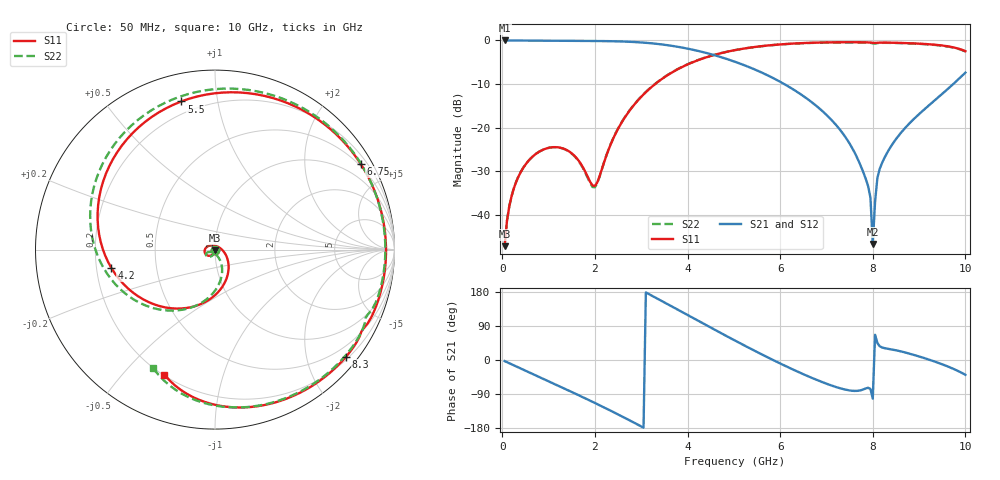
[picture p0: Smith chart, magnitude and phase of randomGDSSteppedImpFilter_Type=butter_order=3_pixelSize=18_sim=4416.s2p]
! freq	dB(S11)	phase(S11)	dB(S12)	phase(S12)
!  dB(S21)	phase(S21)	dB(S22)	phase(S22)
!S-par simulation data
#  GHz  S  DB  R 50
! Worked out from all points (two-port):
!   200 points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, 50 MHz to 10 GHz, reference 50 ohm
!   highest |S21| = -0.01 dB at 50 MHz (marker M1); lowest = -46.8 dB at 8 GHz (marker M2)
!   |S21| within 3 dB of the highest: start of sweep to 4.451 GHz
!   lowest |S11| = -47.2 dB at 50 MHz (marker M3), VSWR 1.01, Z = 50.1 - j0.427 ohm
!   |S11| at or under -10 dB: start of sweep to 3.303 GHz
!   |S22| runs from -47.2 to -0.5 dB; largest |S21 - S12| = 0
!   S11 on the Smith chart (normalised r, x): 50 MHz: 1.00, -0.01; 4.2 GHz: 0.26, -0.08; 5.5 GHz: 0.14, +0.79; 6.75 GHz: 0.43, +3.62; 8.3 GHz: 0.26, -2.78; 10 GHz: 0.20, -0.65
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0.05  -47.24 -78.9  -0.01 -2.8  -0.01 -2.8  -47.18 -78.3
0.25  -33.95 -103.7  -0.03 -14.0  -0.03 -14.0  -33.92 -100.6
0.6  -27.24 -127.9  -0.05 -33.6  -0.05 -33.6  -27.23 -120.0
1.25  -24.63 -172.5  -0.10 -70.1  -0.10 -70.1  -24.66 -150.1
1.75  -29.31 137.1  -0.12 -98.8  -0.12 -98.8  -29.47 -157.3
2  -33.42 61.9  -0.14 -113.4  -0.14 -113.4  -33.71 -109.1
2.75  -16.10 -63.2  -0.32 -159.3  -0.32 -159.3  -16.03 -77.1
3.4  -9.21 -112.4  -0.87 158.6  -0.87 158.6  -9.16 -112.2
4.2  -4.64 -169.9  -2.35 105.4  -2.35 105.4  -4.61 -161.0
5.05  -2.18 131.9  -5.00 49.7  -5.00 49.7  -2.17 146.0
5.5  -1.45 102.8  -6.90 21.2  -6.90 21.2  -1.45 118.0
6.1  -0.84 66.3  -10.09 -15.0  -10.09 -15.0  -0.86 81.2
6.7  -0.54 33.1  -14.34 -48.0  -14.34 -48.0  -0.57 45.8
6.75  -0.52 30.5  -14.76 -50.5  -14.76 -50.5  -0.55 42.9
7.75  -0.43 -17.0  -29.06 -79.6  -29.06 -79.6  -0.47 -10.6
7.95  -0.49 -25.8  -36.11 -76.5  -36.11 -76.5  -0.57 -20.8
8  -0.56 -27.8  -46.76 -102.1  -46.76 -102.1  -0.67 -23.0
8.1  -0.54 -31.0  -31.53 44.7  -31.53 44.7  -0.63 -26.4
8.3  -0.51 -39.3  -26.01 30.3  -26.01 30.3  -0.56 -35.9
8.35  -0.52 -41.3  -25.08 29.2  -25.08 29.2  -0.57 -38.3
9.25  -0.91 -76.8  -14.57 -0.5  -14.57 -0.5  -0.96 -78.5
10  -2.48 -112.0  -7.40 -39.1  -7.40 -39.1  -2.55 -117.5
